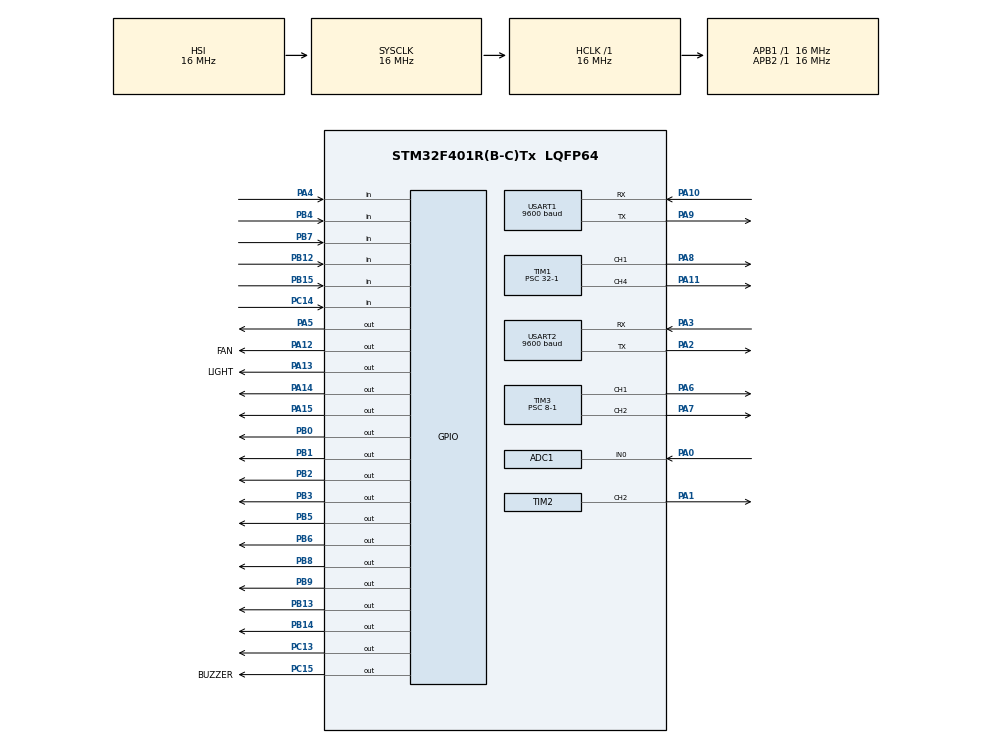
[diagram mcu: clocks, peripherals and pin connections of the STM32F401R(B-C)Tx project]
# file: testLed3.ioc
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ADC1.Channel-3\#ChannelRegularConversion=ADC_CHANNEL_0
ADC1.NbrOfConversionFlag=1
ADC1.Rank-3\#ChannelRegularConversion=1
ADC1.SamplingTime-3\#ChannelRegularConversion=ADC_SAMPLETIME_3CYCLES
ADC1.master=1
Mcu.Family=STM32F4
Mcu.Name=STM32F401R(B-C)Tx
Mcu.Package=LQFP64
NVIC.PriorityGroup=NVIC_PRIORITYGROUP_4
NVIC.USART1_IRQn=true\:0\:0\:false\:false\:true\:true\:true
NVIC.USART2_IRQn=true\:0\:0\:false\:false\:true\:true\:true
PA0-WKUP.Signal=ADCx_IN0
PA1.Signal=S_TIM2_CH2
PA10.Mode=Asynchronous
PA10.Signal=USART1_RX
PA11.Signal=S_TIM1_CH4
PA12.GPIO_Label=FAN
PA12.Signal=GPIO_Output
PA13.GPIO_Label=LIGHT
PA13.Signal=GPIO_Output
PA14.Signal=GPIO_Output
PA15.Signal=GPIO_Output
PA2.Mode=Asynchronous
PA2.Signal=USART2_TX
PA3.Mode=Asynchronous
PA3.Signal=USART2_RX
PA4.GPIO_PuPd=GPIO_PULLUP
PA4.Signal=GPIO_Input
PA5.Signal=GPIO_Output
PA6.Signal=S_TIM3_CH1
PA7.Signal=S_TIM3_CH2
PA8.Signal=S_TIM1_CH1
PA9.Mode=Asynchronous
PA9.Signal=USART1_TX
PB0.Signal=GPIO_Output
PB1.Signal=GPIO_Output
PB12.GPIO_PuPd=GPIO_PULLUP
PB12.Signal=GPIO_Input
PB13.Signal=GPIO_Output
PB14.Signal=GPIO_Output
PB15.GPIO_PuPd=GPIO_PULLUP
PB15.Signal=GPIO_Input
PB2.Signal=GPIO_Output
PB3.Signal=GPIO_Output
PB4.GPIO_PuPd=GPIO_PULLUP
PB4.Signal=GPIO_Input
PB5.Signal=GPIO_Output
PB6.Signal=GPIO_Output
PB7.GPIO_PuPd=GPIO_PULLUP
PB7.Signal=GPIO_Input
PB8.Signal=GPIO_Output
PB9.Signal=GPIO_Output
PC13-ANTI_TAMP.Signal=GPIO_Output
PC14-OSC32_IN.Signal=GPIO_Input
PC15-OSC32_OUT.GPIO_Label=BUZZER
PC15-OSC32_OUT.Signal=GPIO_Output
PH0\ -\ OSC_IN.Mode=HSE-External-Oscillator
PH0\ -\ OSC_IN.Signal=RCC_OSC_IN
PH1\ -\ OSC_OUT.Mode=HSE-External-Oscillator
PH1\ -\ OSC_OUT.Signal=RCC_OSC_OUT
ProjectManager.HeapSize=0x200
ProjectManager.StackSize=0x400
ProjectManager.TargetToolchain=STM32CubeIDE
RCC.AHBFreq_Value=16000000
RCC.APB1Freq_Value=16000000
RCC.APB2Freq_Value=16000000
RCC.CortexFreq_Value=16000000
RCC.HSE_VALUE=25000000
RCC.HSI_VALUE=16000000
RCC.LSE_VALUE=32768
RCC.SYSCLKFreq_VALUE=16000000
RCC.VCOOutputFreq_Value=192000000
SH.ADCx_IN0.0=ADC1_IN0,IN0
SH.S_TIM1_CH1.0=TIM1_CH1,PWM Generation1 CH1
SH.S_TIM1_CH4.0=TIM1_CH4,PWM Generation4 CH4
SH.S_TIM2_CH2.0=TIM2_CH2,PWM Generation2 CH2
SH.S_TIM3_CH1.0=TIM3_CH1,PWM Generation1 CH1
SH.S_TIM3_CH2.0=TIM3_CH2,PWM Generation2 CH2
TIM1.Channel-PWM\ Generation1\ CH1=TIM_CHANNEL_1
TIM1.Channel-PWM\ Generation4\ CH4=TIM_CHANNEL_4
TIM1.CounterMode=TIM_COUNTERMODE_UP
TIM1.OCMode_PWM-PWM\ Generation1\ CH1=TIM_OCMODE_PWM1
TIM1.OCPolarity_1=TIM_OCPOLARITY_LOW
TIM1.OCPolarity_4=TIM_OCPOLARITY_LOW
TIM1.Period=10000-1
TIM1.Prescaler=32-1
TIM2.Channel-PWM\ Generation2\ CH2=TIM_CHANNEL_2
TIM2.Period=10000-1
TIM2.Prescaler=32-1
TIM3.Channel-PWM\ Generation1\ CH1=TIM_CHANNEL_1
TIM3.Channel-PWM\ Generation2\ CH2=TIM_CHANNEL_2
TIM3.OCPolarity_1=TIM_OCPOLARITY_HIGH
TIM3.OCPolarity_2=TIM_OCPOLARITY_HIGH
TIM3.Period=200-1
TIM3.Prescaler=8-1
TIM4.Period=65535
TIM4.Prescaler=16-1
USART1.BaudRate=9600
USART1.VirtualMode=VM_ASYNC
USART2.BaudRate=9600
USART2.VirtualMode=VM_ASYNC
VP_TIM1_VS_ClockSourceINT.Mode=Internal
VP_TIM2_VS_ClockSourceINT.Mode=Internal
VP_TIM3_VS_ClockSourceINT.Mode=Internal
VP_TIM4_VS_ClockSourceINT.Mode=Internal
board=custom

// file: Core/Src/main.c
/* USER CODE BEGIN Header */
/**
 ******************************************************************************
 * @file           : main.c
 * @brief          : Main program body
 ******************************************************************************
 * @attention
 *
 * <h2><center>&copy; Copyright (c) 2025 STMicroelectronics.
 * All rights reserved.</center></h2>
 *
 * This software component is licensed by ST under BSD 3-Clause license,
 * the "License"; You may not use this file except in compliance with the
 * License. You may obtain a copy of the License at:
 *                        opensource.org/licenses/BSD-3-Clause
 *
 ******************************************************************************
 */
/* USER CODE END Header */

#include "main.h"
#include <stdio.h>
#include <string.h>
/* USER CODE BEGIN Includes */
#include "SERVO_interface.h"

/* USER CODE END Includes */

/* USER CODE BEGIN PD */
#define MOTOR1_IN1_PIN	GPIO_PIN_0
#define MOTOR1_IN2_PIN	GPIO_PIN_1

#define MOTOR2_IN3_PIN	GPIO_PIN_2
#define MOTOR2_IN4_PIN	GPIO_PIN_3

#define MOTOR1_GPIO_PORT	GPIOB
#define MOTOR2_GPIO_PORT	GPIOB

#define MOTOR1_PWM	TIM_CHANNEL_1
#define MOTOR2_PWM	TIM_CHANNEL_2
#define SERVO_PWM	TIM_CHANNEL_2

// C
#define TRIG_LEFT1 GPIO_PIN_13  // Left Sensor 1
#define ECHO_LEFT1 GPIO_PIN_14
// A
#define TRIG_LEFT2 GPIO_PIN_5  // Left Sensor 2
#define ECHO_LEFT2 GPIO_PIN_4

// B
#define TRIG_RIGHT1 GPIO_PIN_5  // Right Sensor 1
#define ECHO_RIGHT1 GPIO_PIN_4

//B
#define TRIG_RIGHT2 GPIO_PIN_14  // Right Sensor 2
#define ECHO_RIGHT2 GPIO_PIN_15

// B
#define TRIG_FRONT GPIO_PIN_6
#define ECHO_FRONT GPIO_PIN_7

// B
#define TRIG_BACK GPIO_PIN_13
#define ECHO_BACK GPIO_PIN_12

#define BUZZER_ON()  HAL_GPIO_WritePin(BUZZER_GPIO_Port, BUZZER_Pin, GPIO_PIN_SET)
#define BUZZER_OFF() HAL_GPIO_WritePin(BUZZER_GPIO_Port, BUZZER_Pin, GPIO_PIN_RESET)

#define LIGHT_ON()  HAL_GPIO_WritePin(LIGHT_GPIO_Port, LIGHT_Pin, GPIO_PIN_SET)
#define LIGHT_OFF() HAL_GPIO_WritePin(LIGHT_GPIO_Port, LIGHT_Pin, GPIO_PIN_RESET)

#define FAN_ON()  HAL_GPIO_WritePin(FAN_GPIO_Port, FAN_Pin, GPIO_PIN_SET)
#define FAN_OFF() HAL_GPIO_WritePin(FAN_GPIO_Port, FAN_Pin, GPIO_PIN_RESET)

#define COLLISION_DISTANCE_CM 20
#define COLLISION_CHECK_INTERVAL 200

#define MAX_CMD_LENGTH 50
/* USER CODE END PD */

ADC_HandleTypeDef hadc1;

TIM_HandleTypeDef htim1;
TIM_HandleTypeDef htim2;
TIM_HandleTypeDef htim3;
TIM_HandleTypeDef htim4;

UART_HandleTypeDef huart1;
UART_HandleTypeDef huart2;

/* USER CODE BEGIN PV */
uint8_t rxdata;
/* USER CODE END PV */

void SystemClock_Config(void);
static void MX_GPIO_Init(void);
static void MX_TIM2_Init(void);
static void MX_TIM3_Init(void);
static void MX_USART1_UART_Init(void);
static void MX_TIM4_Init(void);
static void MX_USART2_UART_Init(void);
static void MX_ADC1_Init(void);
static void MX_TIM1_Init(void);

/* USER CODE BEGIN 0 */
// Movement state variables
uint8_t forward = 0;
uint8_t backward = 0;
uint8_t left = 0;
uint8_t right = 0;
uint8_t rxBuffer[1];
uint8_t self_parking_enabled = 0;

uint32_t last_collision_check = 0;

char AI_rxBuffer[MAX_CMD_LENGTH];
uint8_t rx_index = 0;
uint8_t rx_complete_flag = 0;
uint8_t Parking_Available = 0;
char debug_buffer[100];  // Buffer to send UART

char Dist1[3];
uint8_t Dist1_dash=0;
uint8_t semicolon = ';';

uint16_t temp_read = 0;
// Function prototypes
uint8_t Str_Contains(const char *str, const char *substr);
/*
uint16_t my_strlen(const char *str) {
	uint16_t len = 0;
	while (str[len] != '\0') {
		len++;
	}
	return len;
}
void my_memset(char *arr, char val, uint16_t size) {
	for (uint16_t i = 0; i < size; i++) {
		arr[i] = val;
	}
}
*/
void AI_Handling(char *Massage);
void update_movement();
void set_motor_direction(GPIO_TypeDef *port, uint16_t pin1, uint16_t pin2, int forward);
void set_motor_speed(uint8_t motor1_speed, uint8_t motor2_speed);

uint32_t get_distance(GPIO_TypeDef* GPIOx, uint16_t TRIG, uint16_t ECHO);
uint8_t check_parking_space();
void self_parking_mode();
void buzzer_beep(uint8_t times, uint16_t delay_ms);

uint8_t check_collision_front();

/* USER CODE END 0 */

int main(void)
{

	/* MCU Configuration--------------------------------------------------------*/

	/* Reset of all peripherals, Initializes the Flash interface and the Systick. */
	HAL_Init();

	/* Configure the system clock */
	SystemClock_Config();

	/* Initialize all configured peripherals */
	MX_GPIO_Init();
	MX_TIM2_Init();
	MX_TIM3_Init();
	MX_USART1_UART_Init();
	MX_TIM4_Init();
	MX_USART2_UART_Init();
	MX_ADC1_Init();
	MX_TIM1_Init();
	/* USER CODE BEGIN 2 */
	HAL_Delay(200);
	// steering motors
	SERVO_voidInit(htim2, TIM_CHANNEL_2);
	// mirror motors
	SERVO_voidInit(htim1, TIM_CHANNEL_1);
	SERVO_voidInit(htim1, TIM_CHANNEL_4);
	HAL_TIM_PWM_Start(&htim3, TIM_CHANNEL_1);
	HAL_TIM_PWM_Start(&htim3, TIM_CHANNEL_2);
	// Start UART reception in interrupt mode
	HAL_UART_Receive_IT(&huart1, rxBuffer, 1);
	HAL_UART_Receive_IT(&huart2, (uint8_t*)&AI_rxBuffer[rx_index], 1);

	HAL_TIM_Base_Start(&htim4);
	//uint32_t now;
	//uint16_t temp_mv ;
	//uint16_t temperature;
	/* USER CODE END 2 */

	/* Infinite loop */
	/* USER CODE BEGIN WHILE */
	while (1)
	{
		/*
		SERVO_voidRotate(TIM_CHANNEL_2, 180);
		__HAL_TIM_SET_COMPARE(&htim3,TIM_CHANNEL_1,250);
		HAL_Delay(1000);
		SERVO_voidRotate(TIM_CHANNEL_2, 90);
		__HAL_TIM_SET_COMPARE(&htim3,TIM_CHANNEL_1,450);
		__HAL_TIM_SET_COMPARE(&htim3,TIM_CHANNEL_2,450);
		HAL_Delay(1000);
		SERVO_voidRotate(TIM_CHANNEL_2, 0);
		__HAL_TIM_SET_COMPARE(&htim3,TIM_CHANNEL_1,1050);
		HAL_Delay(1000);*/
		/*
		Dist1_dash = get_distance(GPIOB,TRIG_FRONT, ECHO_FRONT);
		if (Dist1_dash < 0 || Dist1_dash > 99) Dist1_dash = 0;
		Dist1[0]=(Dist1_dash/10+'0');
		Dist1[1]=(Dist1_dash%10+'0');
		HAL_UART_Transmit(&huart2, (uint8_t*)Dist1, sizeof(Dist1), 10);
		HAL_UART_Transmit(&huart2, &semicolon, sizeof(semicolon), 10);
		HAL_UART_Transmit(&huart2, &semicolon, sizeof(semicolon), 10);
		HAL_UART_Transmit(&huart2, &semicolon, sizeof(semicolon), 10);
		 */
		/*
		Dist1_dash = get_distance(GPIOA,TRIG_LEFT2, ECHO_LEFT2);
		if (Dist1_dash < 0 || Dist1_dash > 99) Dist1_dash = 0;
		Dist1[0]=(Dist1_dash/10+'0');
		Dist1[1]=(Dist1_dash%10+'0');
		HAL_UART_Transmit(&huart2, (uint8_t*)Dist1, sizeof(Dist1), 10);
		HAL_UART_Transmit(&huart2, &semicolon, sizeof(semicolon), 10);
		HAL_UART_Transmit(&huart2, &semicolon, sizeof(semicolon), 10);*/
		/*Dist1_dash = get_distance(GPIOB,TRIG_RIGHT2, ECHO_RIGHT2);
		if (Dist1_dash < 0 || Dist1_dash > 99) Dist1_dash = 0;
		Dist1[0]=(Dist1_dash/10+'0');
		Dist1[1]=(Dist1_dash%10+'0');
		Dist1[2]= 0x0d;
		HAL_UART_Transmit(&huart2, (uint8_t*)Dist1, sizeof(Dist1), 10);
		HAL_UART_Transmit(&huart2, &semicolon, sizeof(semicolon), 10);
		HAL_UART_Transmit(&huart2, &semicolon, sizeof(semicolon), 10);
		HAL_UART_Transmit(&huart2, &semicolon, sizeof(semicolon), 10);*/
		/*
		now = HAL_GetTick();
		if (now - last_collision_check >= COLLISION_CHECK_INTERVAL) {
			if (check_collision_front()) {
				forward = backward = left = right = 0;
				self_parking_enabled = 0;
			}
			last_collision_check = now;
		}
*/
		if(self_parking_enabled == 1)
		{
			self_parking_mode();
		}
		else
		{
			update_movement();
		}

		/*
		if (rx_complete_flag==1) {
			rx_complete_flag = 0;
			HAL_UART_Transmit(&huart1, (uint8_t*)AI_rxBuffer, my_strlen(AI_rxBuffer), 100);
			// clear after handling
			my_memset(AI_rxBuffer, 0, sizeof(AI_rxBuffer));
		}*/
		/*
		HAL_ADC_Start(&hadc1);
		HAL_ADC_PollForConversion(&hadc1, 100);
		temp_read = HAL_ADC_GetValue(&hadc1);

		temp_mv = (temp_read * 5000UL) / 4096UL;
		temperature = temp_mv / 10UL;
		// لو عايز تبعتها كسلسلة UART:
		uint8_t temp_int = (uint8_t)temperature;
		Dist1[0] = (temp_int / 10) + '0';
		Dist1[1] = (temp_int % 10) + '0';
		Dist1[2] = 0xd;  // أو 0x0d
		HAL_UART_Transmit(&huart2,(uint8_t*) Dist1, sizeof(Dist1), 10);*/

		//check_parking_space();

		/* USER CODE END WHILE */

	}
}

void SystemClock_Config(void)
{
	RCC_OscInitTypeDef RCC_OscInitStruct = {0};
	RCC_ClkInitTypeDef RCC_ClkInitStruct = {0};

	/** Configure the main internal regulator output voltage
	 */
	__HAL_RCC_PWR_CLK_ENABLE();
	__HAL_PWR_VOLTAGESCALING_CONFIG(PWR_REGULATOR_VOLTAGE_SCALE2);
	/** Initializes the CPU, AHB and APB busses clocks
	 */
	RCC_OscInitStruct.OscillatorType = RCC_OSCILLATORTYPE_HSI;
	RCC_OscInitStruct.HSIState = RCC_HSI_ON;
	RCC_OscInitStruct.HSICalibrationValue = RCC_HSICALIBRATION_DEFAULT;
	RCC_OscInitStruct.PLL.PLLState = RCC_PLL_NONE;
	if (HAL_RCC_OscConfig(&RCC_OscInitStruct) != HAL_OK)
	{
		Error_Handler();
	}
	/** Initializes the CPU, AHB and APB busses clocks
	 */
	RCC_ClkInitStruct.ClockType = RCC_CLOCKTYPE_HCLK|RCC_CLOCKTYPE_SYSCLK
			|RCC_CLOCKTYPE_PCLK1|RCC_CLOCKTYPE_PCLK2;
	RCC_ClkInitStruct.SYSCLKSource = RCC_SYSCLKSOURCE_HSI;
	RCC_ClkInitStruct.AHBCLKDivider = RCC_SYSCLK_DIV1;
	RCC_ClkInitStruct.APB1CLKDivider = RCC_HCLK_DIV1;
	RCC_ClkInitStruct.APB2CLKDivider = RCC_HCLK_DIV1;

	if (HAL_RCC_ClockConfig(&RCC_ClkInitStruct, FLASH_LATENCY_0) != HAL_OK)
	{
		Error_Handler();
	}
}

static void MX_ADC1_Init(void)
{

	ADC_ChannelConfTypeDef sConfig = {0};

	/** Configure the global features of the ADC (Clock, Resolution, Data Alignment and number of conversion)
	 */
	hadc1.Instance = ADC1;
	hadc1.Init.ClockPrescaler = ADC_CLOCK_SYNC_PCLK_DIV2;
	hadc1.Init.Resolution = ADC_RESOLUTION_12B;
	hadc1.Init.ScanConvMode = DISABLE;
	hadc1.Init.ContinuousConvMode = DISABLE;
	hadc1.Init.DiscontinuousConvMode = DISABLE;
	hadc1.Init.ExternalTrigConvEdge = ADC_EXTERNALTRIGCONVEDGE_NONE;
	hadc1.Init.ExternalTrigConv = ADC_SOFTWARE_START;
	hadc1.Init.DataAlign = ADC_DATAALIGN_RIGHT;
	hadc1.Init.NbrOfConversion = 1;
	hadc1.Init.DMAContinuousRequests = DISABLE;
	hadc1.Init.EOCSelection = ADC_EOC_SINGLE_CONV;
	if (HAL_ADC_Init(&hadc1) != HAL_OK)
	{
		Error_Handler();
	}
	/** Configure for the selected ADC regular channel its corresponding rank in the sequencer and its sample time.
	 */
	sConfig.Channel = ADC_CHANNEL_0;
	sConfig.Rank = 1;
	sConfig.SamplingTime = ADC_SAMPLETIME_28CYCLES;
	if (HAL_ADC_ConfigChannel(&hadc1, &sConfig) != HAL_OK)
	{
		Error_Handler();
	}

}

static void MX_TIM1_Init(void)
{

	TIM_ClockConfigTypeDef sClockSourceConfig = {0};
	TIM_MasterConfigTypeDef sMasterConfig = {0};
	TIM_OC_InitTypeDef sConfigOC = {0};
	TIM_BreakDeadTimeConfigTypeDef sBreakDeadTimeConfig = {0};

	htim1.Instance = TIM1;
	htim1.Init.Prescaler = 32-1;
	htim1.Init.CounterMode = TIM_COUNTERMODE_UP;
	htim1.Init.Period = 10000-1;
	htim1.Init.ClockDivision = TIM_CLOCKDIVISION_DIV1;
	htim1.Init.RepetitionCounter = 0;
	htim1.Init.AutoReloadPreload = TIM_AUTORELOAD_PRELOAD_DISABLE;
	if (HAL_TIM_Base_Init(&htim1) != HAL_OK)
	{
		Error_Handler();
	}
	sClockSourceConfig.ClockSource = TIM_CLOCKSOURCE_INTERNAL;
	if (HAL_TIM_ConfigClockSource(&htim1, &sClockSourceConfig) != HAL_OK)
	{
		Error_Handler();
	}
	if (HAL_TIM_PWM_Init(&htim1) != HAL_OK)
	{
		Error_Handler();
	}
	sMasterConfig.MasterOutputTrigger = TIM_TRGO_RESET;
	sMasterConfig.MasterSlaveMode = TIM_MASTERSLAVEMODE_DISABLE;
	if (HAL_TIMEx_MasterConfigSynchronization(&htim1, &sMasterConfig) != HAL_OK)
	{
		Error_Handler();
	}
	sConfigOC.OCMode = TIM_OCMODE_PWM1;
	sConfigOC.Pulse = 0;
	sConfigOC.OCPolarity = TIM_OCPOLARITY_LOW;
	sConfigOC.OCNPolarity = TIM_OCNPOLARITY_HIGH;
	sConfigOC.OCFastMode = TIM_OCFAST_DISABLE;
	sConfigOC.OCIdleState = TIM_OCIDLESTATE_RESET;
	sConfigOC.OCNIdleState = TIM_OCNIDLESTATE_RESET;
	if (HAL_TIM_PWM_ConfigChannel(&htim1, &sConfigOC, TIM_CHANNEL_1) != HAL_OK)
	{
		Error_Handler();
	}
	if (HAL_TIM_PWM_ConfigChannel(&htim1, &sConfigOC, TIM_CHANNEL_4) != HAL_OK)
	{
		Error_Handler();
	}
	sBreakDeadTimeConfig.OffStateRunMode = TIM_OSSR_DISABLE;
	sBreakDeadTimeConfig.OffStateIDLEMode = TIM_OSSI_DISABLE;
	sBreakDeadTimeConfig.LockLevel = TIM_LOCKLEVEL_OFF;
	sBreakDeadTimeConfig.DeadTime = 0;
	sBreakDeadTimeConfig.BreakState = TIM_BREAK_DISABLE;
	sBreakDeadTimeConfig.BreakPolarity = TIM_BREAKPOLARITY_HIGH;
	sBreakDeadTimeConfig.AutomaticOutput = TIM_AUTOMATICOUTPUT_DISABLE;
	if (HAL_TIMEx_ConfigBreakDeadTime(&htim1, &sBreakDeadTimeConfig) != HAL_OK)
	{
		Error_Handler();
	}
	HAL_TIM_MspPostInit(&htim1);

}

static void MX_TIM2_Init(void)
{

	TIM_ClockConfigTypeDef sClockSourceConfig = {0};
	TIM_MasterConfigTypeDef sMasterConfig = {0};
	TIM_OC_InitTypeDef sConfigOC = {0};

	htim2.Instance = TIM2;
	htim2.Init.Prescaler = 32-1;
	htim2.Init.CounterMode = TIM_COUNTERMODE_UP;
	htim2.Init.Period = 10000-1;
	htim2.Init.ClockDivision = TIM_CLOCKDIVISION_DIV1;
	htim2.Init.AutoReloadPreload = TIM_AUTORELOAD_PRELOAD_DISABLE;
	if (HAL_TIM_Base_Init(&htim2) != HAL_OK)
	{
		Error_Handler();
	}
	sClockSourceConfig.ClockSource = TIM_CLOCKSOURCE_INTERNAL;
	if (HAL_TIM_ConfigClockSource(&htim2, &sClockSourceConfig) != HAL_OK)
	{
		Error_Handler();
	}
	if (HAL_TIM_PWM_Init(&htim2) != HAL_OK)
	{
		Error_Handler();
	}
	sMasterConfig.MasterOutputTrigger = TIM_TRGO_RESET;
	sMasterConfig.MasterSlaveMode = TIM_MASTERSLAVEMODE_DISABLE;
	if (HAL_TIMEx_MasterConfigSynchronization(&htim2, &sMasterConfig) != HAL_OK)
	{
		Error_Handler();
	}
	sConfigOC.OCMode = TIM_OCMODE_PWM1;
	sConfigOC.Pulse = 0;
	sConfigOC.OCPolarity = TIM_OCPOLARITY_HIGH;
	sConfigOC.OCFastMode = TIM_OCFAST_DISABLE;
	if (HAL_TIM_PWM_ConfigChannel(&htim2, &sConfigOC, TIM_CHANNEL_2) != HAL_OK)
	{
		Error_Handler();
	}
	HAL_TIM_MspPostInit(&htim2);

}

static void MX_TIM3_Init(void)
{

	TIM_ClockConfigTypeDef sClockSourceConfig = {0};
	TIM_MasterConfigTypeDef sMasterConfig = {0};
	TIM_OC_InitTypeDef sConfigOC = {0};

	htim3.Instance = TIM3;
	htim3.Init.Prescaler = 8-1;
	htim3.Init.CounterMode = TIM_COUNTERMODE_UP;
	htim3.Init.Period = 200-1;
	htim3.Init.ClockDivision = TIM_CLOCKDIVISION_DIV1;
	htim3.Init.AutoReloadPreload = TIM_AUTORELOAD_PRELOAD_DISABLE;
	if (HAL_TIM_Base_Init(&htim3) != HAL_OK)
	{
		Error_Handler();
	}
	sClockSourceConfig.ClockSource = TIM_CLOCKSOURCE_INTERNAL;
	if (HAL_TIM_ConfigClockSource(&htim3, &sClockSourceConfig) != HAL_OK)
	{
		Error_Handler();
	}
	if (HAL_TIM_PWM_Init(&htim3) != HAL_OK)
	{
		Error_Handler();
	}
	sMasterConfig.MasterOutputTrigger = TIM_TRGO_RESET;
	sMasterConfig.MasterSlaveMode = TIM_MASTERSLAVEMODE_DISABLE;
	if (HAL_TIMEx_MasterConfigSynchronization(&htim3, &sMasterConfig) != HAL_OK)
	{
		Error_Handler();
	}
	sConfigOC.OCMode = TIM_OCMODE_PWM1;
	sConfigOC.Pulse = 0;
	sConfigOC.OCPolarity = TIM_OCPOLARITY_HIGH;
	sConfigOC.OCFastMode = TIM_OCFAST_DISABLE;
	if (HAL_TIM_PWM_ConfigChannel(&htim3, &sConfigOC, TIM_CHANNEL_1) != HAL_OK)
	{
		Error_Handler();
	}
	if (HAL_TIM_PWM_ConfigChannel(&htim3, &sConfigOC, TIM_CHANNEL_2) != HAL_OK)
	{
		Error_Handler();
	}
	HAL_TIM_MspPostInit(&htim3);

}

static void MX_TIM4_Init(void)
{

	TIM_ClockConfigTypeDef sClockSourceConfig = {0};
	TIM_MasterConfigTypeDef sMasterConfig = {0};

	htim4.Instance = TIM4;
	htim4.Init.Prescaler = 16-1;
	htim4.Init.CounterMode = TIM_COUNTERMODE_UP;
	htim4.Init.Period = 65535;
	htim4.Init.ClockDivision = TIM_CLOCKDIVISION_DIV1;
	htim4.Init.AutoReloadPreload = TIM_AUTORELOAD_PRELOAD_DISABLE;
	if (HAL_TIM_Base_Init(&htim4) != HAL_OK)
	{
		Error_Handler();
	}
	sClockSourceConfig.ClockSource = TIM_CLOCKSOURCE_INTERNAL;
	if (HAL_TIM_ConfigClockSource(&htim4, &sClockSourceConfig) != HAL_OK)
	{
		Error_Handler();
	}
	sMasterConfig.MasterOutputTrigger = TIM_TRGO_RESET;
	sMasterConfig.MasterSlaveMode = TIM_MASTERSLAVEMODE_DISABLE;
	if (HAL_TIMEx_MasterConfigSynchronization(&htim4, &sMasterConfig) != HAL_OK)
	{
		Error_Handler();
	}

}

static void MX_USART1_UART_Init(void)
{

	huart1.Instance = USART1;
	huart1.Init.BaudRate = 9600;
	huart1.Init.WordLength = UART_WORDLENGTH_8B;
	huart1.Init.StopBits = UART_STOPBITS_1;
	huart1.Init.Parity = UART_PARITY_NONE;
	huart1.Init.Mode = UART_MODE_TX_RX;
	huart1.Init.HwFlowCtl = UART_HWCONTROL_NONE;
	huart1.Init.OverSampling = UART_OVERSAMPLING_16;
	if (HAL_UART_Init(&huart1) != HAL_OK)
	{
		Error_Handler();
	}

}

static void MX_USART2_UART_Init(void)
{

	huart2.Instance = USART2;
	huart2.Init.BaudRate = 9600;
	huart2.Init.WordLength = UART_WORDLENGTH_8B;
	huart2.Init.StopBits = UART_STOPBITS_1;
	huart2.Init.Parity = UART_PARITY_NONE;
	huart2.Init.Mode = UART_MODE_TX_RX;
	huart2.Init.HwFlowCtl = UART_HWCONTROL_NONE;
	huart2.Init.OverSampling = UART_OVERSAMPLING_16;
	if (HAL_UART_Init(&huart2) != HAL_OK)
	{
		Error_Handler();
	}

}

static void MX_GPIO_Init(void)
{
	GPIO_InitTypeDef GPIO_InitStruct = {0};

	/* GPIO Ports Clock Enable */
	__HAL_RCC_GPIOC_CLK_ENABLE();
	__HAL_RCC_GPIOH_CLK_ENABLE();
	__HAL_RCC_GPIOA_CLK_ENABLE();
	__HAL_RCC_GPIOB_CLK_ENABLE();

	/*Configure GPIO pin Output Level */
	HAL_GPIO_WritePin(GPIOC, GPIO_PIN_13|BUZZER_Pin, GPIO_PIN_RESET);

	/*Configure GPIO pin Output Level */
	HAL_GPIO_WritePin(GPIOA, GPIO_PIN_5|FAN_Pin|LIGHT_Pin|GPIO_PIN_14
			|GPIO_PIN_15, GPIO_PIN_RESET);

	/*Configure GPIO pin Output Level */
	HAL_GPIO_WritePin(GPIOB, GPIO_PIN_0|GPIO_PIN_1|GPIO_PIN_2|GPIO_PIN_13
			|GPIO_PIN_14|GPIO_PIN_3|GPIO_PIN_5|GPIO_PIN_6
			|GPIO_PIN_8|GPIO_PIN_9, GPIO_PIN_RESET);

	/*Configure GPIO pins : PC13 BUZZER_Pin */
	GPIO_InitStruct.Pin = GPIO_PIN_13|BUZZER_Pin;
	GPIO_InitStruct.Mode = GPIO_MODE_OUTPUT_PP;
	GPIO_InitStruct.Pull = GPIO_NOPULL;
	GPIO_InitStruct.Speed = GPIO_SPEED_FREQ_LOW;
	HAL_GPIO_Init(GPIOC, &GPIO_InitStruct);

	/*Configure GPIO pin : PC14 */
	GPIO_InitStruct.Pin = GPIO_PIN_14;
	GPIO_InitStruct.Mode = GPIO_MODE_INPUT;
	GPIO_InitStruct.Pull = GPIO_NOPULL;
	HAL_GPIO_Init(GPIOC, &GPIO_InitStruct);

	/*Configure GPIO pin : PA4 */
	GPIO_InitStruct.Pin = GPIO_PIN_4;
	GPIO_InitStruct.Mode = GPIO_MODE_INPUT;
	GPIO_InitStruct.Pull = GPIO_PULLUP;
	HAL_GPIO_Init(GPIOA, &GPIO_InitStruct);

	/*Configure GPIO pins : PA5 FAN_Pin LIGHT_Pin PA14
                           PA15 */
	GPIO_InitStruct.Pin = GPIO_PIN_5|FAN_Pin|LIGHT_Pin|GPIO_PIN_14
			|GPIO_PIN_15;
	GPIO_InitStruct.Mode = GPIO_MODE_OUTPUT_PP;
	GPIO_InitStruct.Pull = GPIO_NOPULL;
	GPIO_InitStruct.Speed = GPIO_SPEED_FREQ_LOW;
	HAL_GPIO_Init(GPIOA, &GPIO_InitStruct);

	/*Configure GPIO pins : PB0 PB1 PB2 PB13
                           PB14 PB3 PB5 PB6
                           PB8 PB9 */
	GPIO_InitStruct.Pin = GPIO_PIN_0|GPIO_PIN_1|GPIO_PIN_2|GPIO_PIN_13
			|GPIO_PIN_14|GPIO_PIN_3|GPIO_PIN_5|GPIO_PIN_6
			|GPIO_PIN_8|GPIO_PIN_9;
	GPIO_InitStruct.Mode = GPIO_MODE_OUTPUT_PP;
	GPIO_InitStruct.Pull = GPIO_NOPULL;
	GPIO_InitStruct.Speed = GPIO_SPEED_FREQ_LOW;
	HAL_GPIO_Init(GPIOB, &GPIO_InitStruct);

	/*Configure GPIO pins : PB12 PB15 PB4 PB7 */
	GPIO_InitStruct.Pin = GPIO_PIN_12|GPIO_PIN_15|GPIO_PIN_4|GPIO_PIN_7;
	GPIO_InitStruct.Mode = GPIO_MODE_INPUT;
	GPIO_InitStruct.Pull = GPIO_PULLUP;
	HAL_GPIO_Init(GPIOB, &GPIO_InitStruct);

}

/* USER CODE BEGIN 4 */

void HAL_UART_RxCpltCallback(UART_HandleTypeDef *huart) {

	char command;
	if (huart->Instance == USART1) {
		command = rxBuffer[0];
		// Update movement states based on command
		switch (command) {
		case 'W': forward = 1; backward = 0; break; // Move forward
		case 'S': backward = 1; forward = 0; break; // Move backward
		case 'A': left = 1; break;                 // Turn left
		case 'D': right = 1; break;                // Turn right
		case 'X':                                  // Stop all motion
			forward = 0;
			backward = 0;
			left = 0;
			right = 0;
			self_parking_enabled = 0;
			break;
		case 'P':
			self_parking_enabled = 1;
			break;
		default: break;
		}
		HAL_UART_Receive_IT(&huart1, rxBuffer, 1); // Restart UART reception
	}

	else if (huart->Instance == USART2) {
		char received = AI_rxBuffer[rx_index];
		if (received == '\n' || received == '\r'||received==';') {
			AI_rxBuffer[rx_index] = '\0';  // null terminate
			AI_Handling(AI_rxBuffer);
			rx_complete_flag = 1;
			rx_index = 0;
		} else {
			rx_index++;
			if (rx_index >= MAX_CMD_LENGTH) rx_index = 0;  // avoid overflow
		}
		// Continue receiving next byte
		HAL_UART_Receive_IT(&huart2, (uint8_t*)&AI_rxBuffer[rx_index], 1);

	}
}

void AI_Handling(char *message) {
	if (Str_Contains(message, "light on")) {
		LIGHT_ON();
	}
	else if (Str_Contains(message, "light off")) {
		LIGHT_OFF();
	}
	else if (Str_Contains(message, "fan on")) {
		FAN_ON();
	}
	else if (Str_Contains(message, "fan off")) {
		FAN_OFF();
	}
	else if (Str_Contains(message, "adjust mirror")) {
		SERVO_voidRotate(htim1, TIM_CHANNEL_1, 45);
		SERVO_voidRotate(htim1, TIM_CHANNEL_4, 135);
		HAL_Delay(10);
	}
	else if (Str_Contains(message, "start auto parking")) {
		self_parking_enabled = 1;
	}
	else if (Str_Contains(message, "stop auto parking")) {
		self_parking_enabled = 0;
	}
}

uint8_t Str_Contains(const char *str, const char *substr) {
	while (*str) {
		const char *s = str;
		const char *p = substr;
		while (*s && *p && (*s == *p)) {
			s++;
			p++;
		}
		if (!*p) return 1; // Match found
		str++;
	}
	return 0; // No match
}

void update_movement() {
	uint8_t speed_left = 0;
	uint8_t speed_right = 0;
	uint8_t direction = 1;  // 1 = forward, 0 = backward
	uint8_t angle = 90;

	if (forward || backward) {
		direction = forward ? 1 : 0;

		if (left) {
			speed_left = 60;
			speed_right = 70;
			angle = 45;
		} else if (right) {
			speed_left = 70;
			speed_right = 60;
			angle = 135;
		} else {
			speed_left = speed_right = forward ? 80 : 80;
			angle = 90;
		}
	}
	else if (left || right) {
		speed_left = speed_right = 0;
		angle = left ? 45 : 135;
	}
	else {
		speed_left = speed_right = 0;
		angle = 90;
	}

	set_motor_direction(MOTOR1_GPIO_PORT, MOTOR1_IN1_PIN, MOTOR1_IN2_PIN, direction);
	set_motor_direction(MOTOR2_GPIO_PORT, MOTOR2_IN3_PIN, MOTOR2_IN4_PIN, direction);

	set_motor_speed(speed_left, speed_right);

	SERVO_voidRotate(htim2,SERVO_PWM, angle);

	HAL_Delay(10);
}

void set_motor_speed(uint8_t motor1_speed, uint8_t motor2_speed) {

	uint32_t max_speed = __HAL_TIM_GET_AUTORELOAD(&htim3) + 1;
	__HAL_TIM_SET_COMPARE(&htim3, MOTOR1_PWM, (motor1_speed * max_speed) / 100);
	__HAL_TIM_SET_COMPARE(&htim3, MOTOR2_PWM, (motor2_speed * max_speed) / 100);
}
void set_motor_direction(GPIO_TypeDef *port, uint16_t pin1, uint16_t pin2, int forward) {
	if (forward) {
		HAL_GPIO_WritePin(port, pin1, GPIO_PIN_SET);
		HAL_GPIO_WritePin(port, pin2, GPIO_PIN_RESET);
	} else {
		HAL_GPIO_WritePin(port, pin1, GPIO_PIN_RESET);
		HAL_GPIO_WritePin(port, pin2, GPIO_PIN_SET);
	}
}

uint32_t get_distance(GPIO_TypeDef* GPIOx, uint16_t TRIG, uint16_t ECHO) {
	uint32_t start_time, end_time,pMillsec,distance;
	HAL_GPIO_WritePin(GPIOx, TRIG, GPIO_PIN_SET);
	__HAL_TIM_SET_COUNTER(&htim4,0);
	while(__HAL_TIM_GET_COUNTER(&htim4)<10);
	HAL_GPIO_WritePin(GPIOx, TRIG, GPIO_PIN_RESET);
	pMillsec = HAL_GetTick();
	while(!(HAL_GPIO_ReadPin(GPIOx, ECHO)) && pMillsec + 10 >HAL_GetTick());
	start_time = __HAL_TIM_GET_COUNTER(&htim4);

	pMillsec = HAL_GetTick(); // used this to avoid infinite while loop (for timeout)
	while ((HAL_GPIO_ReadPin (GPIOx, ECHO)) && pMillsec + 50 > HAL_GetTick());
	end_time = __HAL_TIM_GET_COUNTER (&htim4);
	distance = (end_time - start_time)* 0.034/2;
	HAL_Delay(10);
	return distance;
}
// Updated Self-Parking Algorithm Inspired by Original Design
/*void self_parking_mode() {  /////
	uint32_t dist_rf;
	uint32_t dist_rb;
	uint32_t dist_front = get_distance(GPIOB, TRIG_FRONT, ECHO_FRONT);
	uint32_t dist_back = get_distance(GPIOB, TRIG_BACK, ECHO_BACK);
	dist_rb = get_distance(GPIOB, TRIG_RIGHT2, ECHO_RIGHT2);
	dist_rf = get_distance(GPIOB, TRIG_RIGHT1, ECHO_RIGHT1);
	SERVO_voidRotate(htim2, SERVO_PWM, 90);
    HAL_Delay(100);
	if((Distance_F <= 20)){
		set_motor_speed(0, 0);
	}
	// first block

	if((dist_rb <= 20) && (dist_rf <= 20) && (Parking_Available == 0))
	{
		// Start moving forward slowly
		set_motor_direction(MOTOR1_GPIO_PORT, MOTOR1_IN1_PIN, MOTOR1_IN2_PIN, 1);
		set_motor_direction(MOTOR2_GPIO_PORT, MOTOR2_IN3_PIN, MOTOR2_IN4_PIN, 1);
		set_motor_speed(70, 70);
	}
	//finding position
	else if((Distance_Rf > 20) && (Distance_Rb > 20) && (Parking_Available == 0))
	{
		set_motor_direction(MOTOR1_GPIO_PORT, MOTOR1_IN1_PIN, MOTOR1_IN2_PIN, 1);
		set_motor_direction(MOTOR2_GPIO_PORT, MOTOR2_IN3_PIN, MOTOR2_IN4_PIN, 1);
		Parking_Available = 1;
	}

}*/

void self_parking_mode() {
	/*uint8_t right_space_counter = 0;
    uint8_t space_found = 0;
    uint32_t start_time = HAL_GetTick();
    uint32_t search_time_limit = 5000; // Search up to 10 seconds
    uint32_t dist_rf;
    uint32_t dist_rb;
    uint32_t dist_front;
    BUZZER_ON();  // Start buzzer to indicate search
    //buzzer_beep(2, 100);
    SERVO_voidRotate(htim2, SERVO_PWM, 90);
    HAL_Delay(100);

    // Start moving forward slowly
    set_motor_direction(MOTOR1_GPIO_PORT, MOTOR1_IN1_PIN, MOTOR1_IN2_PIN, 1);
    set_motor_direction(MOTOR2_GPIO_PORT, MOTOR2_IN3_PIN, MOTOR2_IN4_PIN, 1);
    set_motor_speed(40, 40);*/
	uint32_t dist_rf;
	uint32_t dist_rb;
	uint32_t dist_f;
	uint32_t dist_b;
	uint8_t space_found = 0;
	uint32_t space_start_time = 0;
	uint32_t search_start_time = HAL_GetTick();
	uint8_t space_detected = 0;

	BUZZER_ON();
	SERVO_voidRotate(htim2, SERVO_PWM, 90);
	HAL_Delay(100);

	// Start moving forward slowly
	set_motor_direction(MOTOR1_GPIO_PORT, MOTOR1_IN1_PIN, MOTOR1_IN2_PIN, 1);
	set_motor_direction(MOTOR2_GPIO_PORT, MOTOR2_IN3_PIN, MOTOR2_IN4_PIN, 1);
	set_motor_speed(60, 60);

	while (HAL_GetTick() - search_start_time < 10000) {
		dist_rf = get_distance(GPIOB, TRIG_RIGHT1, ECHO_RIGHT1);
		dist_rb = get_distance(GPIOB, TRIG_RIGHT2, ECHO_RIGHT2);
		dist_b  = get_distance(GPIOB, TRIG_BACK, ECHO_BACK);
		dist_f  = get_distance(GPIOB, TRIG_FRONT, ECHO_FRONT);

		// 🟡 Debug info on UART
		sprintf(debug_buffer, "Searching... RF: %lu RB: %lu F: %lu B: %lu\r\n", dist_rf, dist_rb, dist_f, dist_b);
		HAL_UART_Transmit(&huart2, (uint8_t*)debug_buffer, strlen(debug_buffer), 100);

		if (dist_rf > 30 && dist_rb > 30) {
			if (!space_detected) {
				space_start_time = HAL_GetTick();
				space_detected = 1;
			} else {
				uint32_t duration = HAL_GetTick() - space_start_time;
				if (duration >= 1500) {
					space_found = 1;
					set_motor_speed(0, 0);
					HAL_Delay(100);
					sprintf(debug_buffer, "✅ Space Found. Starting Parking\r\n");
					HAL_UART_Transmit(&huart2, (uint8_t*)debug_buffer, strlen(debug_buffer), 100);
					break;
				}
			}
		} else {
			space_detected = 0;
		}

		HAL_Delay(20);
	}

	if (!space_found || !self_parking_enabled) {
		BUZZER_OFF();
		self_parking_enabled = 0;
		sprintf(debug_buffer, "❌ No Space Found\r\n");
		HAL_UART_Transmit(&huart2, (uint8_t*)debug_buffer, strlen(debug_buffer), 100);
		return;
	}

	if (space_found) {
		buzzer_beep(1, 200);
	}

	//---------
	set_motor_speed(0, 0);  // Stop after finding space or timeout
	HAL_Delay(200);

	// ===== Begin parking maneuver =====

	// Step 1: Go backward while steering right
	SERVO_voidRotate(htim2, SERVO_PWM, 135);
	HAL_Delay(100);

	set_motor_direction(MOTOR1_GPIO_PORT, MOTOR1_IN1_PIN, MOTOR1_IN2_PIN, 0);
	set_motor_direction(MOTOR2_GPIO_PORT, MOTOR2_IN3_PIN, MOTOR2_IN4_PIN, 0);
	set_motor_speed(70, 60);
	HAL_Delay(500);
	//dist_rb = get_distance(GPIOB, TRIG_RIGHT2, ECHO_RIGHT2);
	uint32_t dist_back = get_distance(GPIOB, TRIG_BACK, ECHO_BACK);
	while (dist_back > 15 && self_parking_enabled) {
		dist_back = get_distance(GPIOB, TRIG_BACK, ECHO_BACK);
		sprintf(debug_buffer, "STEP 1: Backing... B: %lu\r\n", dist_back);
		HAL_UART_Transmit(&huart2, (uint8_t*)debug_buffer, strlen(debug_buffer), 100);
		HAL_Delay(50);
	}

	HAL_Delay(800);
	set_motor_direction(MOTOR1_GPIO_PORT, MOTOR1_IN1_PIN, MOTOR1_IN2_PIN, 0);
	set_motor_direction(MOTOR2_GPIO_PORT, MOTOR2_IN3_PIN, MOTOR2_IN4_PIN, 0);
	set_motor_speed(60,60);
	HAL_Delay(200);

	set_motor_speed(0, 0);
	HAL_Delay(100);
	// Step 2: Go forward while steering left to align
	SERVO_voidRotate(htim2, SERVO_PWM,45);
	HAL_Delay(100);

	set_motor_direction(MOTOR1_GPIO_PORT, MOTOR1_IN1_PIN, MOTOR1_IN2_PIN, 0);
	set_motor_direction(MOTOR2_GPIO_PORT, MOTOR2_IN3_PIN, MOTOR2_IN4_PIN, 0);
	set_motor_speed(60,70);
	HAL_Delay(500);
	dist_rf = get_distance(GPIOB, TRIG_RIGHT1, ECHO_RIGHT1);
	dist_f = get_distance(GPIOB, TRIG_FRONT, ECHO_FRONT);

	while ((dist_rf > 20 || dist_f > 18) && self_parking_enabled) {
		dist_rf = get_distance(GPIOB, TRIG_RIGHT1, ECHO_RIGHT1);
		dist_f = get_distance(GPIOB, TRIG_FRONT, ECHO_FRONT);
		HAL_Delay(50);
	}
	set_motor_speed(0, 0);
	SERVO_voidRotate(htim2, SERVO_PWM, 90);
	HAL_Delay(100);
	self_parking_enabled = 0;
	BUZZER_OFF();
	buzzer_beep(2, 200);  // Indicate success

}

/*
void self_parking_mode() {
	uint8_t space_found = 0;
	uint32_t start_time = HAL_GetTick();
	uint32_t search_time_limit = 5000; // Search for up to 10 seconds
	// Start buzzer to indicate parking
	BUZZER_ON();
	// Move forward to search for a parking space
	SERVO_voidRotate(htim2,SERVO_PWM, 90);
	HAL_Delay(100);

	set_motor_direction(MOTOR1_GPIO_PORT, MOTOR1_IN1_PIN, MOTOR1_IN2_PIN, 1);
	set_motor_direction(MOTOR2_GPIO_PORT, MOTOR2_IN3_PIN, MOTOR2_IN4_PIN, 1);
	set_motor_speed(50, 50);

	// Search loop
	while (!space_found) {
		space_found = check_parking_space();

		if (HAL_GetTick() - start_time > search_time_limit) {
			set_motor_speed(0, 0);
			self_parking_enabled = 0;

            //char msg[] = "Parking Failed: No Space Found\r\n";
            //HAL_UART_Transmit(&huart1, (uint8_t*)msg, strlen(msg), 100);
			return;
		}

		HAL_Delay(100);
	}

	// Stop car when space is found
	set_motor_speed(0, 0);
	if (!self_parking_enabled) {
		BUZZER_OFF();
		return; // 🚫 Exit if stopped externally
	}
	HAL_Delay(200);

	// Perform parking maneuver
	if (space_found == 1 && self_parking_enabled) {  // Left-side parking
		// Reverse while steering left
		SERVO_voidRotate(htim2,SERVO_PWM, 45);
		HAL_Delay(100);

		set_motor_direction(MOTOR1_GPIO_PORT, MOTOR1_IN1_PIN, MOTOR1_IN2_PIN, 0);
		set_motor_direction(MOTOR2_GPIO_PORT, MOTOR2_IN3_PIN, MOTOR2_IN4_PIN, 0);
		set_motor_speed(40, 60);

		// Stop when back sensor reads < 15 cm
		while (get_distance(GPIOB, TRIG_BACK, ECHO_BACK) > 15  && self_parking_enabled) {
			HAL_Delay(50);
		}

		if (!self_parking_enabled) { set_motor_speed(0,0); BUZZER_OFF(); return; }
		set_motor_speed(0,0);
		// Move forward and steer right to align
		SERVO_voidRotate(htim2,SERVO_PWM, 135);
		HAL_Delay(100);

		set_motor_direction(MOTOR1_GPIO_PORT, MOTOR1_IN1_PIN, MOTOR1_IN2_PIN, 1);
		set_motor_direction(MOTOR2_GPIO_PORT, MOTOR2_IN3_PIN, MOTOR2_IN4_PIN, 1);
		set_motor_speed(50, 50);

		while (get_distance(GPIOB, TRIG_FRONT, ECHO_FRONT) > 20 && self_parking_enabled) {
			HAL_Delay(50);
		}

		set_motor_speed(0, 0);
	}

	else if (space_found == 2 && self_parking_enabled) {  // Right-side parking
		// Reverse while steering right
		SERVO_voidRotate(htim2,SERVO_PWM, 135);
		HAL_Delay(100);

		set_motor_direction(MOTOR1_GPIO_PORT, MOTOR1_IN1_PIN, MOTOR1_IN2_PIN, 0);
		set_motor_direction(MOTOR2_GPIO_PORT, MOTOR2_IN3_PIN, MOTOR2_IN4_PIN, 0);
		set_motor_speed(60, 40);

		// Stop when back sensor reads < 15 cm
		while (get_distance(GPIOB, TRIG_BACK, ECHO_BACK) > 15  && self_parking_enabled) {
			HAL_Delay(50);
		}

		if (!self_parking_enabled) { set_motor_speed(0,0); BUZZER_OFF(); return; }
		set_motor_speed(0, 0);

		// Move forward and steer left to align
		SERVO_voidRotate(htim2,SERVO_PWM, 45);
		HAL_Delay(100);

		set_motor_direction(MOTOR1_GPIO_PORT, MOTOR1_IN1_PIN, MOTOR1_IN2_PIN, 1);
		set_motor_direction(MOTOR2_GPIO_PORT, MOTOR2_IN3_PIN, MOTOR2_IN4_PIN, 1);
		set_motor_speed(50, 50);

		while (get_distance(GPIOB, TRIG_FRONT, ECHO_FRONT) > 20 && self_parking_enabled) {
			HAL_Delay(50);
		}

		set_motor_speed(0, 0);
	}

	SERVO_voidRotate(htim2,SERVO_PWM, 90);
	HAL_Delay(100);
	set_motor_speed(0, 0);

	// Disable parking mode
	self_parking_enabled = 0;

	BUZZER_OFF(); // Stop buzzer
	buzzer_beep(2, 200);
	// Send success message over UART

    //char msg[] = "✅ Parking Complete\r\n";
    //HAL_UART_Transmit(&huart1, (uint8_t*)msg, strlen(msg), 100);
}*/
// Check Parking Space
uint8_t check_parking_space() {

	if (get_distance(GPIOC, TRIG_LEFT1, ECHO_LEFT1) > 30 && get_distance(GPIOA, TRIG_LEFT2, ECHO_LEFT2) > 30) {
		return 1;  // Left side
	}
	if (get_distance(GPIOB, TRIG_RIGHT1, ECHO_RIGHT1) > 30 && get_distance(GPIOB, TRIG_RIGHT2, ECHO_RIGHT2) > 30) {
		return 2;  // Right side
	}
	return 0;
}
void buzzer_beep(uint8_t times, uint16_t delay_ms)
{
	for (uint8_t i = 0; i < times; i++) {
		BUZZER_ON();
		HAL_Delay(delay_ms);
		BUZZER_OFF();
		HAL_Delay(delay_ms);
	}
}
uint8_t check_collision_front() {
	uint16_t distance = get_distance(GPIOB, TRIG_FRONT, ECHO_FRONT);
	if (distance < COLLISION_DISTANCE_CM) {
		set_motor_speed(0, 0);
		buzzer_beep(3, 100);
		/*
        char warn_msg[] = "\r\n⚠�? Collision Detected! Stopping\r\n";
        HAL_UART_Transmit(&huart1, (uint8_t*)warn_msg, strlen(warn_msg), 100);*/
		return 1;
	}
	return 0;
}
/* USER CODE END 4 */

void Error_Handler(void)
{
}

/************************ (C) COPYRIGHT STMicroelectronics *****END OF FILE****/
